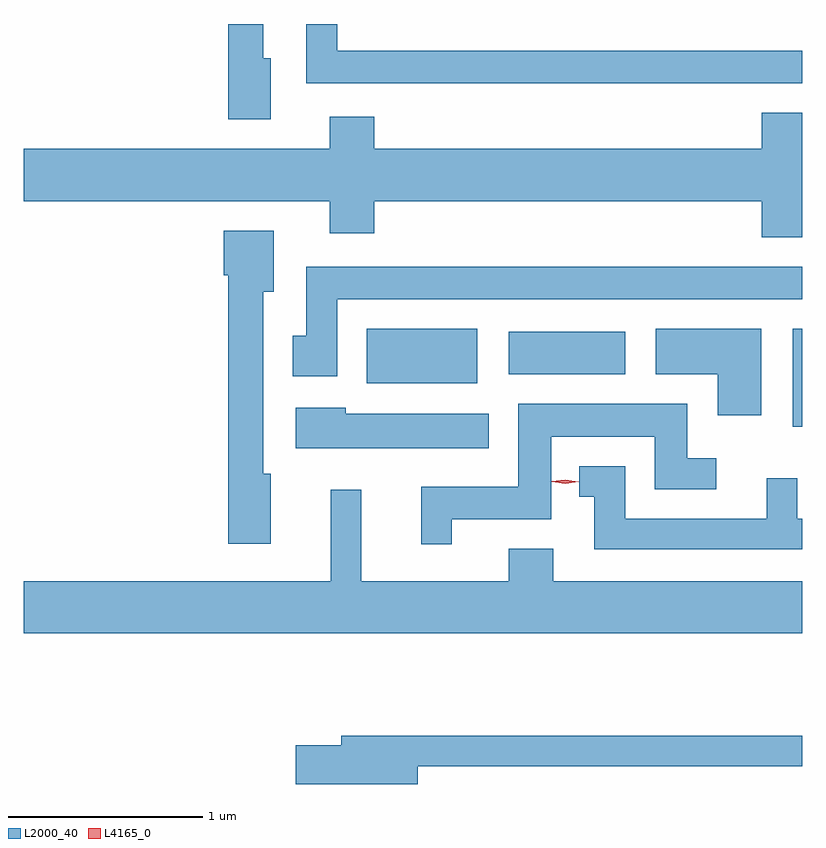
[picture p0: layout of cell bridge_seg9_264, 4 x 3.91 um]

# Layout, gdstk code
import gdstk
lib = gdstk.Library(unit=1e-6, precision=1e-09)
def R(c, l, rs):  # rectangles x0, y0, x1, y1
    for r in rs: c.add(gdstk.rectangle(r[:2], r[2:], *l))
def P(c, l, *ps):  # polygons
    for p in ps: c.add(gdstk.Polygon(p, *l))
L2000_40 = (2000, 40)
L4165_0 = (4165, 0)

bridge_seg9_264 = lib.new_cell('bridge_seg9_264')
R(bridge_seg9_264, L2000_40, [(989.271,2039.496,989.319,2039.999), (987.081,2039.721,987.649,2039.999), (987.811,2039.766,988.409,2039.984)])
P(bridge_seg9_264, L2000_40, [(986.589,2041.389),(986.549,2041.389),(986.549,2041.566),(986.371,2041.566),(986.371,2041.076),(986.589,2041.076)],
  [(989.319,2041.429),(986.929,2041.429),(986.929,2041.566),(986.771,2041.566),(986.771,2041.261),(989.319,2041.261)],
  [(989.319,2041.109),(989.111,2041.109),(989.111,2040.924),(987.119,2040.924),(987.119,2041.089),(986.891,2041.089),(986.891,2040.924),(985.319,2040.924),(985.319,2040.656),(986.891,2040.656),(986.891,2040.491),(987.119,2040.491),(987.119,2040.656),(989.111,2040.656),(989.111,2040.471),(989.319,2040.471)],
  [(986.589,2039.254),(986.549,2039.254),(986.549,2040.191),(986.604,2040.191),(986.604,2040.504),(986.346,2040.504),(986.346,2040.276),(986.371,2040.276),(986.371,2038.896),(986.589,2038.896)],
  [(986.929,2040.151),(989.319,2040.151),(989.319,2040.319),(986.771,2040.319),(986.771,2039.964),(986.701,2039.964),(986.701,2039.756),(986.929,2039.756)],
  [(989.109,2039.999),(988.566,2039.999),(988.566,2039.766),(988.886,2039.766),(988.886,2039.556),(989.109,2039.556)],
  [(987.519,2039.021),(988.029,2039.021),(988.029,2039.446),(988.561,2039.446),(988.561,2039.176),(988.878,2039.176),(988.878,2039.334),(988.729,2039.334),(988.729,2039.614),(987.861,2039.614),(987.861,2039.189),(987.361,2039.189),(987.361,2038.893),(987.519,2038.893)],
  [(987.709,2039.564),(986.974,2039.564),(986.974,2039.594),(986.716,2039.594),(986.716,2039.386),(987.709,2039.386)],
  [(989.319,2039.024),(989.294,2039.024),(989.294,2039.233),(989.136,2039.233),(989.136,2039.024),(988.409,2039.024),(988.409,2039.294),(988.173,2039.294),(988.173,2039.136),(988.251,2039.136),(988.251,2038.866),(989.319,2038.866)],
  [(989.319,2038.704),(988.039,2038.704),(988.039,2038.869),(987.811,2038.869),(987.811,2038.704),(987.054,2038.704),(987.054,2039.173),(986.896,2039.173),(986.896,2038.704),(985.319,2038.704),(985.319,2038.436),(989.319,2038.436)],
  [(987.344,2037.751),(989.319,2037.751),(989.319,2037.909),(986.951,2037.909),(986.951,2037.859),(986.716,2037.859),(986.716,2037.661),(987.344,2037.661)])
P(bridge_seg9_264, L4165_0, [(988.101,2039.205),(988.032,2039.215),(988.032,2039.215),(988.032,2039.216),(988.101,2039.225),(988.171,2039.215),(988.171,2039.215),(988.171,2039.214)])

lib.write_gds('bridge_seg9_264.gds')
